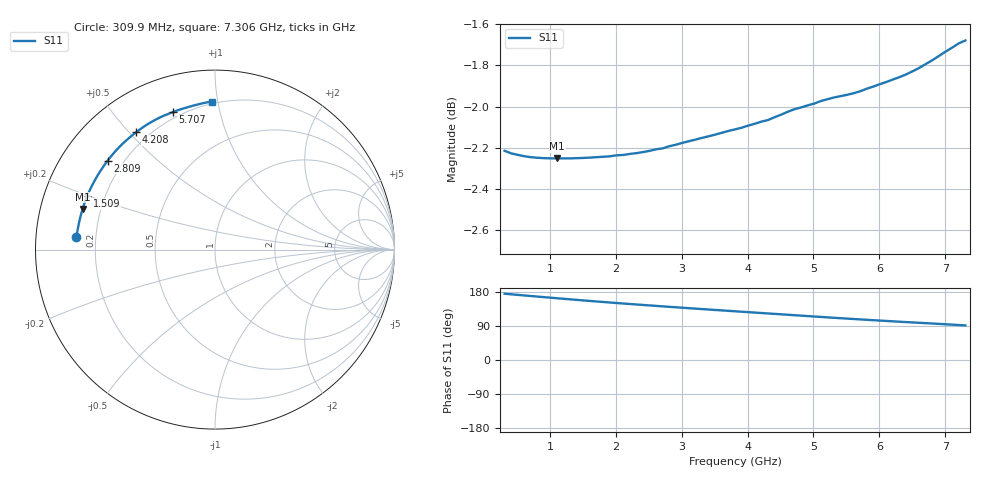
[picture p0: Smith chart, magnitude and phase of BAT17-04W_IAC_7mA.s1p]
! Infineon Technologies  Discrete & RF Semiconductors
! BAT17-04W
! IAC = 7 mA
! One-Port S-Parameters
# Hz  S  MA  R  50
!f  S11
!Hz  Mag  Ang
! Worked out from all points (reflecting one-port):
!   71 points, 309.9 MHz to 7.306 GHz, reference 50 ohm
!   lowest |S11| = -2.3 dB at 1.109 GHz (marker M1), VSWR 7.76, Z = 6.59 + j7.39 ohm
!   phase of S11 starts at 175 deg and turns -84 deg over the sweep
!   S11 on the Smith chart (normalised r, x): 309.9 MHz: 0.13, +0.04; 1.509 GHz: 0.13, +0.20; 2.809 GHz: 0.14, +0.35; 4.208 GHz: 0.15, +0.52; 5.707 GHz: 0.17, +0.72; 7.306 GHz: 0.19, +0.96
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3.0985e8  0.7749 174.9
5.0975e8  0.7732 171.8
7.0965e8  0.7722 168.8
9.0955e8  0.7717 165.8
1.10945e9  0.7716 162.9
1.2094e9  0.7716 161.4
1.50925e9  0.7718 157.2
1.8091e9  0.7723 153.1
2.009e9  0.773 150.4
2.10895e9  0.7731 149.1
2.4088e9  0.7744 145.3
2.8086e9  0.7769 140.4
3.0085e9  0.7784 137.9
3.30835e9  0.7805 134.4
3.50825e9  0.782 132.0
3.8081e9  0.7843 128.6
4.2079e9  0.7877 124.0
4.50775e9  0.7907 120.6
4.70765e9  0.7931 118.2
4.90755e9  0.7948 116.0
5.2074e9  0.7976 112.6
5.4073e9  0.799 110.3
5.6072e9  0.8003 108.2
5.70715e9  0.8012 107.1
6.007e9  0.8044 104.0
6.50675e9  0.8102 99.1
7.0065e9  0.8192 94.3
7.30635e9  0.8243 91.3
